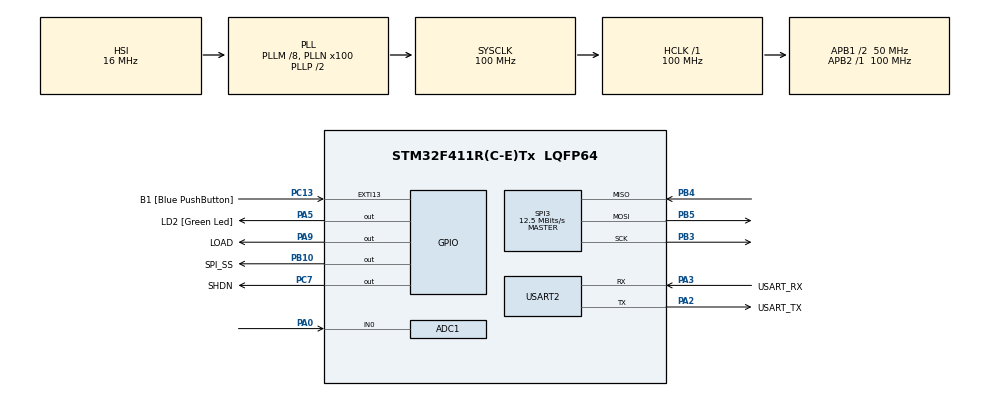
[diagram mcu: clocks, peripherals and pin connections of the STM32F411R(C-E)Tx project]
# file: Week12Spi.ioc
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Mcu.Family=STM32F4
PB10.PinState=GPIO_PIN_SET
RCC.CortexFreq_Value=100000000
SPI3.Direction=SPI_DIRECTION_2LINES
SPI3.VirtualType=VM_MASTER
ADC1.ContinuousConvMode=DISABLE
PA14.GPIO_Label=TCK
RCC.SYSCLKSource=RCC_SYSCLKSOURCE_PLLCLK
ProjectManager.StackSize=0x400
NVIC.ADC_IRQn=true\:0\:0\:false\:false\:true\:true\:true
PH0\ -\ OSC_IN.Signal=RCC_OSC_IN
RCC.HCLKFreq_Value=100000000
RCC.APB2TimFreq_Value=100000000
TIM3.Period=100
Dma.ADC1.0.Direction=DMA_PERIPH_TO_MEMORY
PC7.Signal=GPIO_Output
NVIC.DMA2_Stream0_IRQn=true\:0\:0\:false\:false\:true\:false\:true
Dma.ADC1.0.MemDataAlignment=DMA_MDATAALIGN_HALFWORD
RCC.AHBFreq_Value=100000000
SPI3.DataSize=SPI_DATASIZE_16BIT
ADC1.Channel-0\#ChannelRegularConversion=ADC_CHANNEL_0
NVIC.TIM1_TRG_COM_TIM11_IRQn=true\:0\:0\:false\:false\:true\:true\:true
RCC.HSE_VALUE=8000000
PB3.Mode=Full_Duplex_Master
ADC1.ScanConvMode=ENABLE
PC13-ANTI_TAMP.Signal=GPXTI13
PB4.Mode=Full_Duplex_Master
PC14-OSC32_IN.Mode=LSE-External-Oscillator
PA14.Mode=Serial_Wire
TIM3.Prescaler=99
Dma.ADC1.0.PeriphInc=DMA_PINC_DISABLE
PB5.Mode=Full_Duplex_Master
PC7.PinState=GPIO_PIN_SET
SH.ADCx_IN0.0=ADC1_IN0,IN0
ADC1.SamplingTime-0\#ChannelRegularConversion=ADC_SAMPLETIME_3CYCLES
RCC.FLatency-AdvancedSettings=FLASH_LATENCY_3
Mcu.Package=LQFP64
SPI3.Mode=SPI_MODE_MASTER
USART2.VirtualMode=VM_ASYNC
PA2.GPIO_Label=USART_TX
NVIC.SPI3_IRQn=true\:0\:0\:false\:false\:true\:true\:true
RCC.APB1TimFreq_Value=100000000
Dma.ADC1.0.FIFOMode=DMA_FIFOMODE_DISABLE
Dma.Request0=ADC1
ADC1.EOCSelection=ADC_EOC_SEQ_CONV
VP_TIM3_VS_ClockSourceINT.Mode=Internal
PB4.Signal=SPI3_MISO
PA3.Signal=USART2_RX
PC15-OSC32_OUT.Mode=LSE-External-Oscillator
Dma.ADC1.0.Instance=DMA2_Stream0
ADC1.Rank-0\#ChannelRegularConversion=1
PC13-ANTI_TAMP.GPIO_Label=B1 [Blue PushButton]
PA9.GPIO_Label=LOAD
PH1\ -\ OSC_OUT.Mode=HSE-External-Clock-Source
ADC1.DiscontinuousConvMode=DISABLE
TIM11.Prescaler=99
RCC.APB1CLKDivider=RCC_HCLK_DIV2
PC14-OSC32_IN.Signal=RCC_OSC32_IN
NVIC.USART2_IRQn=true\:0\:0\:false\:false\:true\:true\:true
PA0-WKUP.Signal=ADCx_IN0
VP_TIM11_VS_ClockSourceINT.Mode=Enable_Timer
PA13.Signal=SYS_JTMS-SWDIO
PA3.Mode=Asynchronous
Dma.ADC1.0.PeriphDataAlignment=DMA_PDATAALIGN_HALFWORD
PH0\ -\ OSC_IN.Mode=HSE-External-Clock-Source
ProjectManager.TargetToolchain=STM32CubeIDE
PB10.GPIO_Label=SPI_SS
Dma.ADC1.0.Mode=DMA_CIRCULAR
Dma.ADC1.0.Priority=DMA_PRIORITY_LOW
PA9.Signal=GPIO_Output
PA9.PinState=GPIO_PIN_SET
PC15-OSC32_OUT.Signal=RCC_OSC32_OUT
PB10.Signal=GPIO_Output
PA5.Signal=GPIO_Output
PH1\ -\ OSC_OUT.Signal=RCC_OSC_OUT
board=NUCLEO-F411RE
RCC.VCOOutputFreq_Value=200000000
RCC.APB2Freq_Value=100000000
SPI3.CalculateBaudRate=12.5 MBits/s
SPI3.BaudRatePrescaler=SPI_BAUDRATEPRESCALER_4
ADC1.DMAContinuousRequests=ENABLE
PA13.Mode=Serial_Wire
Mcu.Name=STM32F411R(C-E)Tx
PA2.Signal=USART2_TX
PA13.GPIO_Label=TMS
ADC1.ExternalTrigConv=ADC_EXTERNALTRIGCONV_T3_TRGO
PC7.GPIO_Label=SHDN
RCC.48MHZClocksFreq_Value=50000000
PB3.Signal=SPI3_SCK
RCC.SYSCLKFreq_VALUE=100000000
PB5.Signal=SPI3_MOSI
ADC1.master=1
PA5.GPIO_Label=LD2 [Green Led]
PC13-ANTI_TAMP.GPIO_ModeDefaultEXTI=GPIO_MODE_IT_FALLING
PA14.Signal=SYS_JTCK-SWCLK
Dma.ADC1.0.MemInc=DMA_MINC_ENABLE
ProjectManager.HeapSize=0x200
RCC.HSI_VALUE=16000000
NVIC.PriorityGroup=NVIC_PRIORITYGROUP_0
ADC1.NbrOfConversionFlag=1
RCC.PLLM=8
RCC.PLLN=100
PA2.Mode=Asynchronous
TIM3.TIM_MasterOutputTrigger=TIM_TRGO_UPDATE
RCC.APB1Freq_Value=50000000
PA3.GPIO_Label=USART_RX

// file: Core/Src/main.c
/* USER CODE BEGIN Header */
/**
 ******************************************************************************
 * @file           : main.c
 * @brief          : Main program body
 ******************************************************************************
 * @attention
 *
 * <h2><center>&copy; Copyright (c) 2021 STMicroelectronics.
 * All rights reserved.</center></h2>
 *
 * This software component is licensed by ST under BSD 3-Clause license,
 * the "License"; You may not use this file except in compliance with the
 * License. You may obtain a copy of the License at:
 *                        opensource.org/licenses/BSD-3-Clause
 *
 ******************************************************************************
 */
/* USER CODE END Header */
#include "main.h"

/* USER CODE BEGIN Includes */
#include <stdio.h>
#include <string.h>
#include <math.h>
/* USER CODE END Includes */

ADC_HandleTypeDef hadc1;
DMA_HandleTypeDef hdma_adc1;

SPI_HandleTypeDef hspi3;

TIM_HandleTypeDef htim3;
TIM_HandleTypeDef htim11;

UART_HandleTypeDef huart2;

/* USER CODE BEGIN PV */
uint16_t ADCin = 0;
uint64_t _micro = 0;
uint16_t m = 0;
uint16_t n = 0;
uint16_t p = 0;
uint16_t a = 0;
uint16_t x = 0;
uint16_t cycle = 0;
uint16_t duty = 50;
float freq = 5;
float vhigh = 3.3;
float vlow = 0;
uint16_t d1 = 0;
uint16_t d2 = 0;
uint16_t v1 = 0;
uint16_t v2 = 0;
uint16_t v3 = 0;
uint16_t v4 = 0;
float vmax;
float vmin;
//12bits dac
uint16_t dataOut = 0;
//upper 4 bits of dac
uint8_t DACConfig = 0b0011;
char TxDataBuffer[32] = { 0 };
char RxDataBuffer[32] = { 0 };
enum _StateDisplay {
	StateDisplay_Start = 0,
	StateDisplay_MenuRoot_Print = 10,
	StateDisplay_MenuRoot_WaitInput,
	StateDisplay_Menu0_Print = 20,
	StateDisplay_Menu0_WaitInput,
	StateDisplay_Menu1_Print = 30,
	StateDisplay_Menu1_WaitInput,
	StateDisplay_Menu2_Print = 40,
	StateDisplay_Menu2_WaitInput,

};
uint8_t STATE_Display = 0;
/* USER CODE END PV */

void SystemClock_Config(void);
static void MX_GPIO_Init(void);
static void MX_DMA_Init(void);
static void MX_USART2_UART_Init(void);
static void MX_SPI3_Init(void);
static void MX_ADC1_Init(void);
static void MX_TIM3_Init(void);
static void MX_TIM11_Init(void);
/* USER CODE BEGIN PFP */
int16_t UARTRecieveIT();
void MCP4922SetOutput(uint8_t Config, uint16_t DACOutput);
uint64_t micros();
/* USER CODE END PFP */

int main(void) {

	/* MCU Configuration--------------------------------------------------------*/

	/* Reset of all peripherals, Initializes the Flash interface and the Systick. */
	HAL_Init();

	/* Configure the system clock */
	SystemClock_Config();

	/* Initialize all configured peripherals */
	MX_GPIO_Init();
	MX_DMA_Init();
	MX_USART2_UART_Init();
	MX_SPI3_Init();
	MX_ADC1_Init();
	MX_TIM3_Init();
	MX_TIM11_Init();
	/* USER CODE BEGIN 2 */
	HAL_TIM_Base_Start(&htim3);
	HAL_TIM_Base_Start_IT(&htim11);
	HAL_ADC_Start_DMA(&hadc1, (uint32_t*) &ADCin, 1);

	HAL_GPIO_WritePin(LOAD_GPIO_Port, LOAD_Pin, GPIO_PIN_RESET);
	/* USER CODE END 2 */

	/* Infinite loop */
	/* USER CODE BEGIN WHILE */
	while (1) {
		HAL_UART_Receive_IT(&huart2, (uint8_t*) RxDataBuffer, 32);
		int16_t inputchar = UARTRecieveIT();
		switch (STATE_Display) {
		case StateDisplay_Start:
			STATE_Display = StateDisplay_MenuRoot_Print;
			break;

		case StateDisplay_MenuRoot_Print:
			sprintf(TxDataBuffer, "Menu\r\n");
			HAL_UART_Transmit(&huart2, (uint8_t*) TxDataBuffer,
					strlen(TxDataBuffer), 1000);
			sprintf(TxDataBuffer, "0 : Sawtooth\r\n");
			HAL_UART_Transmit(&huart2, (uint8_t*) TxDataBuffer,
					strlen(TxDataBuffer), 1000);
			sprintf(TxDataBuffer, "1 : Sine Wave\r\n");
			HAL_UART_Transmit(&huart2, (uint8_t*) TxDataBuffer,
					strlen(TxDataBuffer), 1000);
			sprintf(TxDataBuffer, "2 : Square Wave\r\n");
			HAL_UART_Transmit(&huart2, (uint8_t*) TxDataBuffer,
					strlen(TxDataBuffer), 1000);
			STATE_Display = StateDisplay_MenuRoot_WaitInput;
			break;
		case StateDisplay_Menu0_Print:
			sprintf(TxDataBuffer, "Menu 0 : Sawtooth\r\n");
			HAL_UART_Transmit(&huart2, (uint8_t*) TxDataBuffer,
					strlen(TxDataBuffer), 1000);
			sprintf(TxDataBuffer, "a : Freq up +0.1 Hz\r\n");
			HAL_UART_Transmit(&huart2, (uint8_t*) TxDataBuffer,
					strlen(TxDataBuffer), 1000);
			sprintf(TxDataBuffer, "s : Freq down -0.1 Hz\r\n");
			HAL_UART_Transmit(&huart2, (uint8_t*) TxDataBuffer,
					strlen(TxDataBuffer), 1000);
			sprintf(TxDataBuffer, "d : V high +0.1 V\r\n");
			HAL_UART_Transmit(&huart2, (uint8_t*) TxDataBuffer,
					strlen(TxDataBuffer), 1000);
			sprintf(TxDataBuffer, "f : V high -0.1 V\r\n");
			HAL_UART_Transmit(&huart2, (uint8_t*) TxDataBuffer,
					strlen(TxDataBuffer), 1000);
			sprintf(TxDataBuffer, "g : V low +0.1 V\r\n");
			HAL_UART_Transmit(&huart2, (uint8_t*) TxDataBuffer,
					strlen(TxDataBuffer), 1000);
			sprintf(TxDataBuffer, "h : V low -0.1 V\r\n");
			HAL_UART_Transmit(&huart2, (uint8_t*) TxDataBuffer,
					strlen(TxDataBuffer), 1000);
			sprintf(TxDataBuffer, "j : slope Up/Down\r\n");
			HAL_UART_Transmit(&huart2, (uint8_t*) TxDataBuffer,
					strlen(TxDataBuffer), 1000);
			sprintf(TxDataBuffer, "x : back\r\n");
			HAL_UART_Transmit(&huart2, (uint8_t*) TxDataBuffer,
					strlen(TxDataBuffer), 1000);
			STATE_Display = StateDisplay_Menu0_WaitInput;
			break;

		case StateDisplay_Menu1_Print:
			sprintf(TxDataBuffer, "Menu 1 : Sine Wave\r\n");
			HAL_UART_Transmit(&huart2, (uint8_t*) TxDataBuffer,
					strlen(TxDataBuffer), 1000);
			sprintf(TxDataBuffer, "a : Freq up +0.1 Hz\r\n");
			HAL_UART_Transmit(&huart2, (uint8_t*) TxDataBuffer,
					strlen(TxDataBuffer), 1000);
			sprintf(TxDataBuffer, "s : Freq down -0.1 Hz\r\n");
			HAL_UART_Transmit(&huart2, (uint8_t*) TxDataBuffer,
					strlen(TxDataBuffer), 1000);
			sprintf(TxDataBuffer, "d : V high +0.1 V\r\n");
			HAL_UART_Transmit(&huart2, (uint8_t*) TxDataBuffer,
					strlen(TxDataBuffer), 1000);
			sprintf(TxDataBuffer, "f : V high -0.1 V\r\n");
			HAL_UART_Transmit(&huart2, (uint8_t*) TxDataBuffer,
					strlen(TxDataBuffer), 1000);
			sprintf(TxDataBuffer, "g : V low +0.1 V\r\n");
			HAL_UART_Transmit(&huart2, (uint8_t*) TxDataBuffer,
					strlen(TxDataBuffer), 1000);
			sprintf(TxDataBuffer, "h : V low -0.1 V\r\n");
			HAL_UART_Transmit(&huart2, (uint8_t*) TxDataBuffer,
					strlen(TxDataBuffer), 1000);
			sprintf(TxDataBuffer, "x : back\r\n");
			HAL_UART_Transmit(&huart2, (uint8_t*) TxDataBuffer,
					strlen(TxDataBuffer), 1000);
			STATE_Display = StateDisplay_Menu1_WaitInput;
			break;

		case StateDisplay_Menu2_Print:
			sprintf(TxDataBuffer, "Menu 2 : Square Wave\r\n");
			HAL_UART_Transmit(&huart2, (uint8_t*) TxDataBuffer,
					strlen(TxDataBuffer), 1000);
			sprintf(TxDataBuffer, "a : Freq up +0.1 Hz\r\n");
			HAL_UART_Transmit(&huart2, (uint8_t*) TxDataBuffer,
					strlen(TxDataBuffer), 1000);
			sprintf(TxDataBuffer, "s : Freq down -0.1 Hz\r\n");
			HAL_UART_Transmit(&huart2, (uint8_t*) TxDataBuffer,
					strlen(TxDataBuffer), 1000);
			sprintf(TxDataBuffer, "d : V high +0.1 V\r\n");
			HAL_UART_Transmit(&huart2, (uint8_t*) TxDataBuffer,
					strlen(TxDataBuffer), 1000);
			sprintf(TxDataBuffer, "f : V high -0.1 V\r\n");
			HAL_UART_Transmit(&huart2, (uint8_t*) TxDataBuffer,
					strlen(TxDataBuffer), 1000);
			sprintf(TxDataBuffer, "g : V low +0.1 V\r\n");
			HAL_UART_Transmit(&huart2, (uint8_t*) TxDataBuffer,
					strlen(TxDataBuffer), 1000);
			sprintf(TxDataBuffer, "h : V low -0.1 V\r\n");
			HAL_UART_Transmit(&huart2, (uint8_t*) TxDataBuffer,
					strlen(TxDataBuffer), 1000);
			sprintf(TxDataBuffer, "j : Duty cycle +1\r\n");
			HAL_UART_Transmit(&huart2, (uint8_t*) TxDataBuffer,
					strlen(TxDataBuffer), 1000);
			sprintf(TxDataBuffer, "k : Duty cycle -1\r\n");
			HAL_UART_Transmit(&huart2, (uint8_t*) TxDataBuffer,
					strlen(TxDataBuffer), 1000);
			sprintf(TxDataBuffer, "x : back\r\n");
			HAL_UART_Transmit(&huart2, (uint8_t*) TxDataBuffer,
					strlen(TxDataBuffer), 1000);
			STATE_Display = StateDisplay_Menu2_WaitInput;
			break;
		}
		if (inputchar != -1) {

			sprintf(TxDataBuffer, "ReceivedChar:[%c]\r\n", inputchar);
			HAL_UART_Transmit(&huart2, (uint8_t*) TxDataBuffer,
					strlen(TxDataBuffer), 1000);
			switch (STATE_Display) {
			case StateDisplay_MenuRoot_WaitInput:
				switch (inputchar) {

				case 0:
					break;
				case '0':
					a = 1;
					STATE_Display = StateDisplay_Menu0_Print;
					break;
				case '1':
					a = 2;
					STATE_Display = StateDisplay_Menu1_Print;
					break;
				case '2':
					a = 3;
					STATE_Display = StateDisplay_Menu2_Print;
					break;
				default:
					sprintf(TxDataBuffer, "Wrong\r\n");
					HAL_UART_Transmit(&huart2, (uint8_t*) TxDataBuffer,
							strlen(TxDataBuffer), 1000);
					STATE_Display = StateDisplay_MenuRoot_Print;
					break;
				}
				break;

			case StateDisplay_Menu0_WaitInput:
				switch (inputchar) {
				case 0:
					break;
				case 'a':
					m = 1;
					STATE_Display = StateDisplay_Menu0_Print;
					break;
				case 's':
					m = 2;
					STATE_Display = StateDisplay_Menu0_Print;
					break;
				case 'd':
					m = 3;
					STATE_Display = StateDisplay_Menu0_Print;
					break;
				case 'f':
					m = 4;
					STATE_Display = StateDisplay_Menu0_Print;
					break;
				case 'g':
					m = 5;
					STATE_Display = StateDisplay_Menu0_Print;
					break;
				case 'h':
					m = 6;
					STATE_Display = StateDisplay_Menu0_Print;
					break;
				case 'j':
					p = 1;
					STATE_Display = StateDisplay_Menu0_Print;
					break;
				case 'x':
					STATE_Display = StateDisplay_MenuRoot_Print;
					break;
				default:
					sprintf(TxDataBuffer, "Wrong\r\n");
					HAL_UART_Transmit(&huart2, (uint8_t*) TxDataBuffer,
							strlen(TxDataBuffer), 1000);
					STATE_Display = StateDisplay_Menu0_Print;
				}
				break;
			case StateDisplay_Menu1_WaitInput:
				switch (inputchar) {
				case 0:
					break;
				case 'a':
					m = 1;
					STATE_Display = StateDisplay_Menu1_Print;
					break;
				case 's':
					m = 2;
					STATE_Display = StateDisplay_Menu1_Print;
					break;
				case 'd':
					m = 3;
					STATE_Display = StateDisplay_Menu1_Print;
					break;
				case 'f':
					m = 4;
					STATE_Display = StateDisplay_Menu1_Print;
					break;
				case 'g':
					m = 5;
					STATE_Display = StateDisplay_Menu1_Print;
					break;
				case 'h':
					m = 6;
					STATE_Display = StateDisplay_Menu1_Print;
					break;
				case 'x':
					STATE_Display = StateDisplay_MenuRoot_Print;
					break;
				default:
					sprintf(TxDataBuffer, "Wrong\r\n");
					HAL_UART_Transmit(&huart2, (uint8_t*) TxDataBuffer,
							strlen(TxDataBuffer), 1000);
					STATE_Display = StateDisplay_Menu1_Print;
				}
				break;
			case StateDisplay_Menu2_WaitInput:
				switch (inputchar) {
				case 0:
					break;
				case 'a':
					m = 1;
					STATE_Display = StateDisplay_Menu2_Print;
					break;
				case 's':
					m = 2;
					STATE_Display = StateDisplay_Menu2_Print;
					break;
				case 'd':
					m = 3;
					STATE_Display = StateDisplay_Menu2_Print;
					break;
				case 'f':
					m = 4;
					STATE_Display = StateDisplay_Menu2_Print;
					break;
				case 'g':
					m = 5;
					STATE_Display = StateDisplay_Menu2_Print;
					break;
				case 'h':
					m = 6;
					STATE_Display = StateDisplay_Menu2_Print;
					break;
				case 'j':
					m = 7;
					STATE_Display = StateDisplay_Menu2_Print;
					break;
				case 'k':
					m = 8;
					STATE_Display = StateDisplay_Menu2_Print;
					break;
				case 'x':
					STATE_Display = StateDisplay_MenuRoot_Print;
					break;

				default:
					sprintf(TxDataBuffer, "Wrong\r\n");
					HAL_UART_Transmit(&huart2, (uint8_t*) TxDataBuffer,
							strlen(TxDataBuffer), 1000);
					STATE_Display = StateDisplay_Menu2_Print;
				}
				break;
			}
		}
		vmax = vhigh * 4095 / 3.3;
		vmin = vlow * 4095 / 3.3;
		static uint64_t timestamp = 0;
		d1 = freq;
		d2 = freq * 10 - d1 * 10;
		v1 = vhigh;
		v2 = vhigh * 10 - v1 * 10;
		v3 = vlow;
		v4 = vlow * 10 - v3 * 10;

		if (m == 1 && freq <= 9.9) {
			freq = freq + 0.1;
			m = 0;
			sprintf(TxDataBuffer, "Freq :[%d.%d]\r\n", d1, d2);
			HAL_UART_Transmit(&huart2, (uint8_t*) TxDataBuffer,
					strlen(TxDataBuffer), 1000);
		}

		if (m == 2 && freq >= 0.1) {
			freq = freq - 0.1;
			m = 0;
			sprintf(TxDataBuffer, "Freq :[%d.%d]\r\n", d1, d2);
			HAL_UART_Transmit(&huart2, (uint8_t*) TxDataBuffer,
					strlen(TxDataBuffer), 1000);
		}
		if (m == 3 && vhigh <= 3.2) {
			vhigh = vhigh + 0.1;
			m = 0;
			sprintf(TxDataBuffer, "V high :[%d.%d]\r\n", v1, v2);
			HAL_UART_Transmit(&huart2, (uint8_t*) TxDataBuffer,
					strlen(TxDataBuffer), 1000);
		}

		if (m == 4 && vhigh >= 0.1) {
			vhigh = vhigh - 0.1;
			m = 0;
			sprintf(TxDataBuffer, "V high :[%d.%d]\r\n", v1, v2);
			HAL_UART_Transmit(&huart2, (uint8_t*) TxDataBuffer,
					strlen(TxDataBuffer), 1000);
		}
		if (m == 5 && vlow <= 3.2) {
			vlow = vlow + 0.1;
			m = 0;
			sprintf(TxDataBuffer, "V low :[%d.%d]\r\n", v3, v4);
			HAL_UART_Transmit(&huart2, (uint8_t*) TxDataBuffer,
					strlen(TxDataBuffer), 1000);
		}

		if (m == 6 && vlow >= 0.1) {
			vlow = vlow - 0.1;
			m = 0;
			sprintf(TxDataBuffer, "V low :[%d.%d]\r\n", v3, v4);
			HAL_UART_Transmit(&huart2, (uint8_t*) TxDataBuffer,
					strlen(TxDataBuffer), 1000);
		}
		if (m == 7 && duty <= 99) {
			duty = duty + 1;
			sprintf(TxDataBuffer, "duty cycle :[%d]\r\n", duty);
			HAL_UART_Transmit(&huart2, (uint8_t*) TxDataBuffer,
					strlen(TxDataBuffer), 1000);
			m = 0;
		}
		if (m == 8 && duty >= 1) {
			duty = duty - 1;
			sprintf(TxDataBuffer, "duty cycle :[%d]\r\n", duty);
			HAL_UART_Transmit(&huart2, (uint8_t*) TxDataBuffer,
					strlen(TxDataBuffer), 1000);
			m = 0;
		}
		if (p == 1) {
			n = !n;
		}
		p = 0;
		if (a == 1) {
			if (micros() - timestamp > 100) {
				timestamp = micros();

				if (n == 0) {
					int amp = (vmax - vmin) / 2;
					dataOut = amp + vmin
							+ ((-2 / M_PI) * (amp)
									* atan(
											(1
													/ tan(
															timestamp * 0.000001
																	* M_PI
																	* freq))));
					//dataOut = dataOut*4095 /3.3;
				}
				if (n == 1) {
					int amp = (vmax - vmin) / 2;
					dataOut = amp + vmin
							+ ((2 / M_PI) * (amp)
									* atan(
											(1
													/ tan(
															timestamp * 0.000001
																	* M_PI
																	* freq))));
//					dataOut = dataOut*4095 /3.3;
				}
				if (hspi3.State == HAL_SPI_STATE_READY
						&& HAL_GPIO_ReadPin(SPI_SS_GPIO_Port, SPI_SS_Pin)
								== GPIO_PIN_SET) {
					MCP4922SetOutput(DACConfig, dataOut);
				}
			}
		}

		if (a == 2) {
			if (micros() - timestamp > 100) {
				timestamp = micros();
				int amp = (vmax - vmin) / 2;
				dataOut = amp * sin(2 * 3.1415 * timestamp * 0.000001 * freq)
						+ amp + vmin;

			}
			if (hspi3.State == HAL_SPI_STATE_READY
					&& HAL_GPIO_ReadPin(SPI_SS_GPIO_Port, SPI_SS_Pin)
							== GPIO_PIN_SET) {
				MCP4922SetOutput(DACConfig, dataOut);
			}
		}
		if (a == 3) {
			if (micros() - timestamp >= (1000000 / freq) / 100) {
				timestamp = micros();
				cycle++;
				if (cycle > 100) {
					cycle = 0;
				}
				if (cycle < duty) {
					dataOut = vmax;
				}
				if (cycle > duty) {
					dataOut = vmin;
				}
			}
			if (hspi3.State == HAL_SPI_STATE_READY
					&& HAL_GPIO_ReadPin(SPI_SS_GPIO_Port, SPI_SS_Pin)
							== GPIO_PIN_SET) {
				MCP4922SetOutput(DACConfig, dataOut);
			}
		}
		/* USER CODE END WHILE */

	}
}

void SystemClock_Config(void) {
	RCC_OscInitTypeDef RCC_OscInitStruct = { 0 };
	RCC_ClkInitTypeDef RCC_ClkInitStruct = { 0 };

	/** Configure the main internal regulator output voltage
	 */
	__HAL_RCC_PWR_CLK_ENABLE();
	__HAL_PWR_VOLTAGESCALING_CONFIG(PWR_REGULATOR_VOLTAGE_SCALE1);
	/** Initializes the RCC Oscillators according to the specified parameters
	 * in the RCC_OscInitTypeDef structure.
	 */
	RCC_OscInitStruct.OscillatorType = RCC_OSCILLATORTYPE_HSI;
	RCC_OscInitStruct.HSIState = RCC_HSI_ON;
	RCC_OscInitStruct.HSICalibrationValue = RCC_HSICALIBRATION_DEFAULT;
	RCC_OscInitStruct.PLL.PLLState = RCC_PLL_ON;
	RCC_OscInitStruct.PLL.PLLSource = RCC_PLLSOURCE_HSI;
	RCC_OscInitStruct.PLL.PLLM = 8;
	RCC_OscInitStruct.PLL.PLLN = 100;
	RCC_OscInitStruct.PLL.PLLP = RCC_PLLP_DIV2;
	RCC_OscInitStruct.PLL.PLLQ = 4;
	if (HAL_RCC_OscConfig(&RCC_OscInitStruct) != HAL_OK) {
		Error_Handler();
	}
	/** Initializes the CPU, AHB and APB buses clocks
	 */
	RCC_ClkInitStruct.ClockType = RCC_CLOCKTYPE_HCLK | RCC_CLOCKTYPE_SYSCLK
			| RCC_CLOCKTYPE_PCLK1 | RCC_CLOCKTYPE_PCLK2;
	RCC_ClkInitStruct.SYSCLKSource = RCC_SYSCLKSOURCE_PLLCLK;
	RCC_ClkInitStruct.AHBCLKDivider = RCC_SYSCLK_DIV1;
	RCC_ClkInitStruct.APB1CLKDivider = RCC_HCLK_DIV2;
	RCC_ClkInitStruct.APB2CLKDivider = RCC_HCLK_DIV1;

	if (HAL_RCC_ClockConfig(&RCC_ClkInitStruct, FLASH_LATENCY_3) != HAL_OK) {
		Error_Handler();
	}
}

static void MX_ADC1_Init(void) {

	ADC_ChannelConfTypeDef sConfig = { 0 };

	/** Configure the global features of the ADC (Clock, Resolution, Data Alignment and number of conversion)
	 */
	hadc1.Instance = ADC1;
	hadc1.Init.ClockPrescaler = ADC_CLOCK_SYNC_PCLK_DIV4;
	hadc1.Init.Resolution = ADC_RESOLUTION_12B;
	hadc1.Init.ScanConvMode = ENABLE;
	hadc1.Init.ContinuousConvMode = DISABLE;
	hadc1.Init.DiscontinuousConvMode = DISABLE;
	hadc1.Init.ExternalTrigConvEdge = ADC_EXTERNALTRIGCONVEDGE_RISING;
	hadc1.Init.ExternalTrigConv = ADC_EXTERNALTRIGCONV_T3_TRGO;
	hadc1.Init.DataAlign = ADC_DATAALIGN_RIGHT;
	hadc1.Init.NbrOfConversion = 1;
	hadc1.Init.DMAContinuousRequests = ENABLE;
	hadc1.Init.EOCSelection = ADC_EOC_SEQ_CONV;
	if (HAL_ADC_Init(&hadc1) != HAL_OK) {
		Error_Handler();
	}
	/** Configure for the selected ADC regular channel its corresponding rank in the sequencer and its sample time.
	 */
	sConfig.Channel = ADC_CHANNEL_0;
	sConfig.Rank = 1;
	sConfig.SamplingTime = ADC_SAMPLETIME_3CYCLES;
	if (HAL_ADC_ConfigChannel(&hadc1, &sConfig) != HAL_OK) {
		Error_Handler();
	}

}

static void MX_SPI3_Init(void) {

	/* SPI3 parameter configuration*/
	hspi3.Instance = SPI3;
	hspi3.Init.Mode = SPI_MODE_MASTER;
	hspi3.Init.Direction = SPI_DIRECTION_2LINES;
	hspi3.Init.DataSize = SPI_DATASIZE_16BIT;
	hspi3.Init.CLKPolarity = SPI_POLARITY_LOW;
	hspi3.Init.CLKPhase = SPI_PHASE_1EDGE;
	hspi3.Init.NSS = SPI_NSS_SOFT;
	hspi3.Init.BaudRatePrescaler = SPI_BAUDRATEPRESCALER_4;
	hspi3.Init.FirstBit = SPI_FIRSTBIT_MSB;
	hspi3.Init.TIMode = SPI_TIMODE_DISABLE;
	hspi3.Init.CRCCalculation = SPI_CRCCALCULATION_DISABLE;
	hspi3.Init.CRCPolynomial = 10;
	if (HAL_SPI_Init(&hspi3) != HAL_OK) {
		Error_Handler();
	}

}

static void MX_TIM3_Init(void) {

	TIM_ClockConfigTypeDef sClockSourceConfig = { 0 };
	TIM_MasterConfigTypeDef sMasterConfig = { 0 };

	htim3.Instance = TIM3;
	htim3.Init.Prescaler = 99;
	htim3.Init.CounterMode = TIM_COUNTERMODE_UP;
	htim3.Init.Period = 100;
	htim3.Init.ClockDivision = TIM_CLOCKDIVISION_DIV1;
	htim3.Init.AutoReloadPreload = TIM_AUTORELOAD_PRELOAD_DISABLE;
	if (HAL_TIM_Base_Init(&htim3) != HAL_OK) {
		Error_Handler();
	}
	sClockSourceConfig.ClockSource = TIM_CLOCKSOURCE_INTERNAL;
	if (HAL_TIM_ConfigClockSource(&htim3, &sClockSourceConfig) != HAL_OK) {
		Error_Handler();
	}
	sMasterConfig.MasterOutputTrigger = TIM_TRGO_UPDATE;
	sMasterConfig.MasterSlaveMode = TIM_MASTERSLAVEMODE_DISABLE;
	if (HAL_TIMEx_MasterConfigSynchronization(&htim3, &sMasterConfig)
			!= HAL_OK) {
		Error_Handler();
	}

}

static void MX_TIM11_Init(void) {

	htim11.Instance = TIM11;
	htim11.Init.Prescaler = 99;
	htim11.Init.CounterMode = TIM_COUNTERMODE_UP;
	htim11.Init.Period = 65535;
	htim11.Init.ClockDivision = TIM_CLOCKDIVISION_DIV1;
	htim11.Init.AutoReloadPreload = TIM_AUTORELOAD_PRELOAD_DISABLE;
	if (HAL_TIM_Base_Init(&htim11) != HAL_OK) {
		Error_Handler();
	}

}

static void MX_USART2_UART_Init(void) {

	huart2.Instance = USART2;
	huart2.Init.BaudRate = 115200;
	huart2.Init.WordLength = UART_WORDLENGTH_8B;
	huart2.Init.StopBits = UART_STOPBITS_1;
	huart2.Init.Parity = UART_PARITY_NONE;
	huart2.Init.Mode = UART_MODE_TX_RX;
	huart2.Init.HwFlowCtl = UART_HWCONTROL_NONE;
	huart2.Init.OverSampling = UART_OVERSAMPLING_16;
	if (HAL_UART_Init(&huart2) != HAL_OK) {
		Error_Handler();
	}

}

static void MX_DMA_Init(void) {

	/* DMA controller clock enable */
	__HAL_RCC_DMA2_CLK_ENABLE();

	/* DMA interrupt init */
	/* DMA2_Stream0_IRQn interrupt configuration */
	HAL_NVIC_SetPriority(DMA2_Stream0_IRQn, 0, 0);
	HAL_NVIC_EnableIRQ(DMA2_Stream0_IRQn);

}

static void MX_GPIO_Init(void) {
	GPIO_InitTypeDef GPIO_InitStruct = { 0 };

	/* GPIO Ports Clock Enable */
	__HAL_RCC_GPIOC_CLK_ENABLE();
	__HAL_RCC_GPIOH_CLK_ENABLE();
	__HAL_RCC_GPIOA_CLK_ENABLE();
	__HAL_RCC_GPIOB_CLK_ENABLE();

	/*Configure GPIO pin Output Level */
	HAL_GPIO_WritePin(LD2_GPIO_Port, LD2_Pin, GPIO_PIN_RESET);

	/*Configure GPIO pin Output Level */
	HAL_GPIO_WritePin(SPI_SS_GPIO_Port, SPI_SS_Pin, GPIO_PIN_SET);

	/*Configure GPIO pin Output Level */
	HAL_GPIO_WritePin(SHDN_GPIO_Port, SHDN_Pin, GPIO_PIN_SET);

	/*Configure GPIO pin Output Level */
	HAL_GPIO_WritePin(LOAD_GPIO_Port, LOAD_Pin, GPIO_PIN_SET);

	/*Configure GPIO pin : B1_Pin */
	GPIO_InitStruct.Pin = B1_Pin;
	GPIO_InitStruct.Mode = GPIO_MODE_IT_FALLING;
	GPIO_InitStruct.Pull = GPIO_NOPULL;
	HAL_GPIO_Init(B1_GPIO_Port, &GPIO_InitStruct);

	/*Configure GPIO pins : LD2_Pin LOAD_Pin */
	GPIO_InitStruct.Pin = LD2_Pin | LOAD_Pin;
	GPIO_InitStruct.Mode = GPIO_MODE_OUTPUT_PP;
	GPIO_InitStruct.Pull = GPIO_NOPULL;
	GPIO_InitStruct.Speed = GPIO_SPEED_FREQ_LOW;
	HAL_GPIO_Init(GPIOA, &GPIO_InitStruct);

	/*Configure GPIO pin : SPI_SS_Pin */
	GPIO_InitStruct.Pin = SPI_SS_Pin;
	GPIO_InitStruct.Mode = GPIO_MODE_OUTPUT_PP;
	GPIO_InitStruct.Pull = GPIO_NOPULL;
	GPIO_InitStruct.Speed = GPIO_SPEED_FREQ_LOW;
	HAL_GPIO_Init(SPI_SS_GPIO_Port, &GPIO_InitStruct);

	/*Configure GPIO pin : SHDN_Pin */
	GPIO_InitStruct.Pin = SHDN_Pin;
	GPIO_InitStruct.Mode = GPIO_MODE_OUTPUT_PP;
	GPIO_InitStruct.Pull = GPIO_NOPULL;
	GPIO_InitStruct.Speed = GPIO_SPEED_FREQ_LOW;
	HAL_GPIO_Init(SHDN_GPIO_Port, &GPIO_InitStruct);

}

/* USER CODE BEGIN 4 */
void MCP4922SetOutput(uint8_t Config, uint16_t DACOutput) {
	uint32_t OutputPacket = (DACOutput & 0x0fff) | ((Config & 0xf) << 12);
	HAL_GPIO_WritePin(SPI_SS_GPIO_Port, SPI_SS_Pin, GPIO_PIN_RESET);
	HAL_SPI_Transmit_IT(&hspi3, &OutputPacket, 1);
}

void HAL_SPI_TxCpltCallback(SPI_HandleTypeDef *hspi) {
	if (hspi == &hspi3) {
		HAL_GPIO_WritePin(SPI_SS_GPIO_Port, SPI_SS_Pin, GPIO_PIN_SET);
	}
}

void HAL_TIM_PeriodElapsedCallback(TIM_HandleTypeDef *htim) {
	if (htim == &htim11) {
		_micro += 65535;
	}
}

inline uint64_t micros() {
	return htim11.Instance->CNT + _micro;
}
int16_t UARTRecieveIT() {
	static uint32_t dataPos = 0;
	int16_t data = -1;
	if (huart2.RxXferSize - huart2.RxXferCount != dataPos) {
		data = RxDataBuffer[dataPos];
		dataPos = (dataPos + 1) % huart2.RxXferSize;
	}
	return data;
}

void HAL_UART_RxCpltCallback(UART_HandleTypeDef *huart) {
	sprintf(TxDataBuffer, "Received:[%s]\r\n", RxDataBuffer);
	HAL_UART_Transmit_IT(&huart2, (uint8_t*) TxDataBuffer,
			strlen(TxDataBuffer));
}
/* USER CODE END 4 */

void Error_Handler(void) {
	__disable_irq();
	while (1) {
	}
}

/************************ (C) COPYRIGHT STMicroelectronics *****END OF FILE****/
